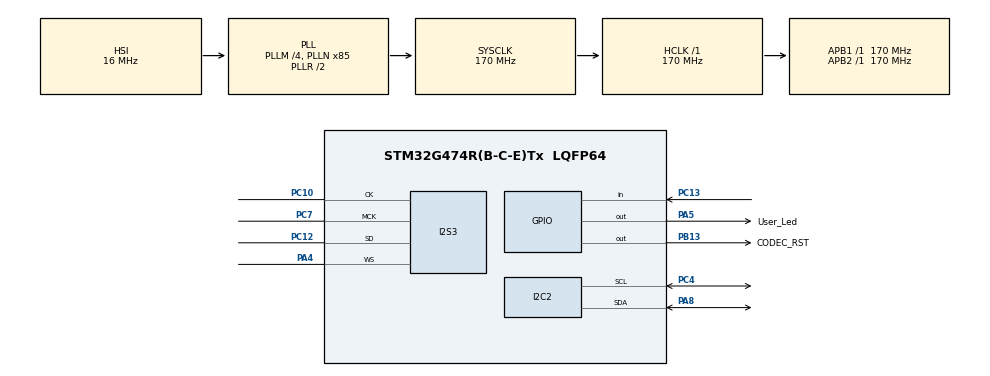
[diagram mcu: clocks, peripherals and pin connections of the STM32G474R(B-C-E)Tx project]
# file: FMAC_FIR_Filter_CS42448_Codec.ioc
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Dma.Request0=SPI3_RX
Dma.SPI3_RX.0.Direction=DMA_PERIPH_TO_MEMORY
Dma.SPI3_RX.0.EventEnable=DISABLE
Dma.SPI3_RX.0.Instance=DMA1_Channel1
Dma.SPI3_RX.0.MemDataAlignment=DMA_MDATAALIGN_HALFWORD
Dma.SPI3_RX.0.MemInc=DMA_MINC_ENABLE
Dma.SPI3_RX.0.Mode=DMA_NORMAL
Dma.SPI3_RX.0.PeriphDataAlignment=DMA_PDATAALIGN_HALFWORD
Dma.SPI3_RX.0.PeriphInc=DMA_PINC_DISABLE
Dma.SPI3_RX.0.Polarity=HAL_DMAMUX_REQ_GEN_RISING
Dma.SPI3_RX.0.Priority=DMA_PRIORITY_HIGH
Dma.SPI3_RX.0.RequestNumber=1
Dma.SPI3_RX.0.SignalID=NONE
Dma.SPI3_RX.0.SyncEnable=DISABLE
Dma.SPI3_RX.0.SyncPolarity=HAL_DMAMUX_SYNC_NO_EVENT
Dma.SPI3_RX.0.SyncRequestNumber=1
Dma.SPI3_RX.0.SyncSignalID=NONE
I2C2.Timing=0x30A0A7FB
I2S3.DataFormat=I2S_DATAFORMAT_16B_EXTENDED
I2S3.ErrorAudioFreq=0.0 %
I2S3.FullDuplexMode=I2S_FULLDUPLEXMODE_DISABLE
I2S3.Instance=SPI$Index
I2S3.Mode=I2S_MODE_MASTER_RX
I2S3.RealAudioFreq=8.0 KHz
I2S3.VirtualMode=I2S_MODE_MASTER
Mcu.Family=STM32G4
Mcu.Name=STM32G474R(B-C-E)Tx
Mcu.Package=LQFP64
NVIC.DMA1_Channel1_IRQn=true\:0\:0\:false\:false\:true\:false\:true\:true
NVIC.I2C2_ER_IRQn=true\:0\:0\:false\:false\:true\:true\:true\:true
NVIC.PriorityGroup=NVIC_PRIORITYGROUP_4
PA13.Mode=Serial_Wire
PA13.Signal=SYS_JTMS-SWDIO
PA14.Mode=Serial_Wire
PA14.Signal=SYS_JTCK-SWCLK
PA4.Mode=Half_Duplex_Master
PA4.Signal=I2S3_WS
PA5.GPIO_Label=User_Led
PA5.Signal=GPIO_Output
PA8.Mode=I2C
PA8.Signal=I2C2_SDA
PB13.GPIO_Label=CODEC_RST
PB13.Signal=GPIO_Output
PC10.Mode=Half_Duplex_Master
PC10.Signal=I2S3_CK
PC12.Mode=Half_Duplex_Master
PC12.Signal=I2S3_SD
PC13.Signal=GPIO_Input
PC4.Mode=I2C
PC4.Signal=I2C2_SCL
PC7.Mode=Master_Clock_Activated
PC7.Signal=I2S3_MCK
PF0-OSC_IN.Mode=HSE-External-Oscillator
PF0-OSC_IN.Signal=RCC_OSC_IN
PF1-OSC_OUT.Mode=HSE-External-Oscillator
PF1-OSC_OUT.Signal=RCC_OSC_OUT
ProjectManager.HeapSize=0x200
ProjectManager.StackSize=0x400
ProjectManager.TargetToolchain=STM32CubeIDE
RCC.ADC12Freq_Value=170000000
RCC.ADC345Freq_Value=170000000
RCC.AHBFreq_Value=170000000
RCC.APB1Freq_Value=170000000
RCC.APB1TimFreq_Value=170000000
RCC.APB2Freq_Value=170000000
RCC.APB2TimFreq_Value=170000000
RCC.CortexFreq_Value=170000000
RCC.EXTERNAL_CLOCK_VALUE=12288000
RCC.HCLKFreq_Value=170000000
RCC.HSE_VALUE=24000000
RCC.HSI48_VALUE=48000000
RCC.HSI_VALUE=16000000
RCC.LSE_VALUE=32768
RCC.PLLM=RCC_PLLM_DIV4
RCC.PLLN=85
RCC.RTCClockSelection=RCC_RTCCLKSOURCE_LSE
RCC.SYSCLKFreq_VALUE=170000000
RCC.SYSCLKSource=RCC_SYSCLKSOURCE_PLLCLK
RCC.USBFreq_Value=170000000
RCC.VCOOutputFreq_Value=340000000
STMicroelectronics.X-CUBE-ALGOBUILD.1.3.0.LibraryCcDSPOoLibraryJjDSPOoLibrary=true
VP_STMicroelectronics.X-CUBE-ALGOBUILD_VS_DSPOoLibraryJjLibrary_1.3.0_1.3.0.Mode=DSPOoLibraryJjLibrary
VP_SYS_VS_DBSignals.Mode=DisableDeadBatterySignals
board=NUCLEO-G474RE

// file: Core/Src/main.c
/* USER CODE BEGIN Header */
/**
  ******************************************************************************
  * @file           : main.c
  * @brief          : Main program body
  ******************************************************************************
  * @attention
  *
  * Copyright (c) 2024 STMicroelectronics.
  * All rights reserved.
  *
  * This software is licensed under terms that can be found in the LICENSE file
  * in the root directory of this software component.
  * If no LICENSE file comes with this software, it is provided AS-IS.
  *
  ******************************************************************************
  */
/* USER CODE END Header */
#include "main.h"

/* USER CODE BEGIN Includes */
#include "arm_math.h"
#include "CS42448.h"
/* USER CODE END Includes */

/* USER CODE BEGIN PTD */
Codec_Typedef cs42448;
/* USER CODE END PTD */

/* USER CODE BEGIN PD */
#define BUFFER_SIZE 1024
#define BLOCK_SIZE 32
#define NUM_TAPS 61
/* USER CODE END PD */

/* USER CODE BEGIN PM */
uint32_t block_size = BLOCK_SIZE;
uint32_t num_blocks = BUFFER_SIZE / BLOCK_SIZE;
arm_fir_instance_f32 hpf;

static volatile int16_t codec_raw_data[BUFFER_SIZE];
float32_t filter_in[BUFFER_SIZE];
float32_t filter_out[BUFFER_SIZE];
float32_t *filter_in_ptr = &filter_in[0];
float32_t *filter_out_ptr = &filter_out[0];
static float32_t fir_state[BLOCK_SIZE+NUM_TAPS-1];
const float32_t fir_coeffs[NUM_TAPS] = {
		0.03022662512841,0.00298125066145216,0.00288036344879971,0.00260522146083929,0.00213496571249289,0.00146370392240467,0.000588907304420464,-0.000500777052292414,-0.00180513057204926,-0.00331486840442641,-0.00502190870490101,-0.00691821507251869,-0.00898465907997099,-0.0112027580037421,-0.0135509232456635,-0.0160033748123723,-0.0185169234389414,-0.0210704168603848,-0.0236355750498254,-0.0261709240268061,-0.0286239812873267,-0.0310062091401962,-0.0332413913000725,-0.035267078502274,-0.0371393416280995,-0.0387649630517825,-0.0401386551185191,-0.0412136017595792,-0.0420015520194209,-0.0424661220495087,0.957372120679589,-0.0424661220495087,-0.0420015520194209,-0.0412136017595792,-0.0401386551185191,-0.0387649630517825,-0.0371393416280995,-0.035267078502274,-0.0332413913000725,-0.0310062091401962,-0.0286239812873267,-0.0261709240268061,-0.0236355750498254,-0.0210704168603848,-0.0185169234389414,-0.0160033748123723,-0.0135509232456635,-0.0112027580037421,-0.00898465907997099,-0.00691821507251869,-0.00502190870490101,-0.00331486840442641,-0.00180513057204926,-0.000500777052292414,0.000588907304420464,0.00146370392240467,0.00213496571249289,0.00260522146083929,0.00288036344879971,0.00298125066145216,0.03022662512841

};

/* USER CODE END PM */

I2C_HandleTypeDef hi2c2;

I2S_HandleTypeDef hi2s3;
DMA_HandleTypeDef hdma_spi3_rx;

void SystemClock_Config(void);
static void MX_GPIO_Init(void);
static void MX_DMA_Init(void);
static void MX_I2C2_Init(void);
static void MX_I2S3_Init(void);
/* USER CODE BEGIN PFP */
void MX_CODEC_Init(void){
	cs42448.CHIP_ADDRESS = 0x90;
	cs42448.i2c_port = hi2c2;
	cs42448.Timeout = 500;
	cs42448.Trials = 3;
	cs42448.Codec_Reset_Pin = CODEC_RST_Pin;
	cs42448.Codec_Reset_Pin_Port = CODEC_RST_GPIO_Port;

}
/* USER CODE END PFP */

int main(void)
{

  /* MCU Configuration--------------------------------------------------------*/

  /* Reset of all peripherals, Initializes the Flash interface and the Systick. */
  HAL_Init();

  /* Configure the system clock */
  SystemClock_Config();

  /* Initialize all configured peripherals */
  MX_GPIO_Init();
  MX_DMA_Init();
  MX_I2C2_Init();
  MX_I2S3_Init();
  /* USER CODE BEGIN 2 */
  MX_CODEC_Init();
  arm_fir_init_f32(&hpf, NUM_TAPS, (float32_t *)&fir_coeffs[0], &fir_state[0], block_size);

  PowerDownEnable(&cs42448);
  Codec_IsReady(&cs42448);
  SetI2SInterface(&cs42448);
  HandleRegisters(&cs42448,0x04);// Check I2S Interface
  SetADCMode(&cs42448);
  HandleRegisters(&cs42448,0x05);// Check ADC Mode
  PowerDownDisable(&cs42448);
  HAL_I2S_Receive_DMA(&hi2s3, (uint16_t *)codec_raw_data, BUFFER_SIZE);

  /* USER CODE END 2 */

  /* Infinite loop */
  while (1)
  {

  }
}

void SystemClock_Config(void)
{
  RCC_OscInitTypeDef RCC_OscInitStruct = {0};
  RCC_ClkInitTypeDef RCC_ClkInitStruct = {0};

  /** Configure the main internal regulator output voltage
  */
  HAL_PWREx_ControlVoltageScaling(PWR_REGULATOR_VOLTAGE_SCALE1_BOOST);

  /** Initializes the RCC Oscillators according to the specified parameters
  * in the RCC_OscInitTypeDef structure.
  */
  RCC_OscInitStruct.OscillatorType = RCC_OSCILLATORTYPE_HSI;
  RCC_OscInitStruct.HSIState = RCC_HSI_ON;
  RCC_OscInitStruct.HSICalibrationValue = RCC_HSICALIBRATION_DEFAULT;
  RCC_OscInitStruct.PLL.PLLState = RCC_PLL_ON;
  RCC_OscInitStruct.PLL.PLLSource = RCC_PLLSOURCE_HSI;
  RCC_OscInitStruct.PLL.PLLM = RCC_PLLM_DIV4;
  RCC_OscInitStruct.PLL.PLLN = 85;
  RCC_OscInitStruct.PLL.PLLP = RCC_PLLP_DIV2;
  RCC_OscInitStruct.PLL.PLLQ = RCC_PLLQ_DIV2;
  RCC_OscInitStruct.PLL.PLLR = RCC_PLLR_DIV2;
  if (HAL_RCC_OscConfig(&RCC_OscInitStruct) != HAL_OK)
  {
    Error_Handler();
  }

  /** Initializes the CPU, AHB and APB buses clocks
  */
  RCC_ClkInitStruct.ClockType = RCC_CLOCKTYPE_HCLK|RCC_CLOCKTYPE_SYSCLK
                              |RCC_CLOCKTYPE_PCLK1|RCC_CLOCKTYPE_PCLK2;
  RCC_ClkInitStruct.SYSCLKSource = RCC_SYSCLKSOURCE_PLLCLK;
  RCC_ClkInitStruct.AHBCLKDivider = RCC_SYSCLK_DIV1;
  RCC_ClkInitStruct.APB1CLKDivider = RCC_HCLK_DIV1;
  RCC_ClkInitStruct.APB2CLKDivider = RCC_HCLK_DIV1;

  if (HAL_RCC_ClockConfig(&RCC_ClkInitStruct, FLASH_LATENCY_4) != HAL_OK)
  {
    Error_Handler();
  }
}

static void MX_I2C2_Init(void)
{

  hi2c2.Instance = I2C2;
  hi2c2.Init.Timing = 0x30A0A7FB;
  hi2c2.Init.OwnAddress1 = 0;
  hi2c2.Init.AddressingMode = I2C_ADDRESSINGMODE_7BIT;
  hi2c2.Init.DualAddressMode = I2C_DUALADDRESS_DISABLE;
  hi2c2.Init.OwnAddress2 = 0;
  hi2c2.Init.OwnAddress2Masks = I2C_OA2_NOMASK;
  hi2c2.Init.GeneralCallMode = I2C_GENERALCALL_DISABLE;
  hi2c2.Init.NoStretchMode = I2C_NOSTRETCH_DISABLE;
  if (HAL_I2C_Init(&hi2c2) != HAL_OK)
  {
    Error_Handler();
  }

  /** Configure Analogue filter
  */
  if (HAL_I2CEx_ConfigAnalogFilter(&hi2c2, I2C_ANALOGFILTER_ENABLE) != HAL_OK)
  {
    Error_Handler();
  }

  /** Configure Digital filter
  */
  if (HAL_I2CEx_ConfigDigitalFilter(&hi2c2, 0) != HAL_OK)
  {
    Error_Handler();
  }

}

static void MX_I2S3_Init(void)
{

  hi2s3.Instance = SPI3;
  hi2s3.Init.Mode = I2S_MODE_MASTER_RX;
  hi2s3.Init.Standard = I2S_STANDARD_PHILIPS;
  hi2s3.Init.DataFormat = I2S_DATAFORMAT_16B_EXTENDED;
  hi2s3.Init.MCLKOutput = I2S_MCLKOUTPUT_ENABLE;
  hi2s3.Init.AudioFreq = I2S_AUDIOFREQ_8K;
  hi2s3.Init.CPOL = I2S_CPOL_LOW;
  if (HAL_I2S_Init(&hi2s3) != HAL_OK)
  {
    Error_Handler();
  }

}

static void MX_DMA_Init(void)
{

  /* DMA controller clock enable */
  __HAL_RCC_DMAMUX1_CLK_ENABLE();
  __HAL_RCC_DMA1_CLK_ENABLE();

  /* DMA interrupt init */
  /* DMA1_Channel1_IRQn interrupt configuration */
  HAL_NVIC_SetPriority(DMA1_Channel1_IRQn, 0, 0);
  HAL_NVIC_EnableIRQ(DMA1_Channel1_IRQn);

}

static void MX_GPIO_Init(void)
{
  GPIO_InitTypeDef GPIO_InitStruct = {0};

  /* GPIO Ports Clock Enable */
  __HAL_RCC_GPIOC_CLK_ENABLE();
  __HAL_RCC_GPIOF_CLK_ENABLE();
  __HAL_RCC_GPIOA_CLK_ENABLE();
  __HAL_RCC_GPIOB_CLK_ENABLE();

  /*Configure GPIO pin Output Level */
  HAL_GPIO_WritePin(User_Led_GPIO_Port, User_Led_Pin, GPIO_PIN_RESET);

  /*Configure GPIO pin Output Level */
  HAL_GPIO_WritePin(CODEC_RST_GPIO_Port, CODEC_RST_Pin, GPIO_PIN_RESET);

  /*Configure GPIO pin : PC13 */
  GPIO_InitStruct.Pin = GPIO_PIN_13;
  GPIO_InitStruct.Mode = GPIO_MODE_INPUT;
  GPIO_InitStruct.Pull = GPIO_NOPULL;
  HAL_GPIO_Init(GPIOC, &GPIO_InitStruct);

  /*Configure GPIO pin : User_Led_Pin */
  GPIO_InitStruct.Pin = User_Led_Pin;
  GPIO_InitStruct.Mode = GPIO_MODE_OUTPUT_PP;
  GPIO_InitStruct.Pull = GPIO_NOPULL;
  GPIO_InitStruct.Speed = GPIO_SPEED_FREQ_LOW;
  HAL_GPIO_Init(User_Led_GPIO_Port, &GPIO_InitStruct);

  /*Configure GPIO pin : CODEC_RST_Pin */
  GPIO_InitStruct.Pin = CODEC_RST_Pin;
  GPIO_InitStruct.Mode = GPIO_MODE_OUTPUT_PP;
  GPIO_InitStruct.Pull = GPIO_NOPULL;
  GPIO_InitStruct.Speed = GPIO_SPEED_FREQ_LOW;
  HAL_GPIO_Init(CODEC_RST_GPIO_Port, &GPIO_InitStruct);

}

/* USER CODE BEGIN 4 */

void HAL_I2S_RxCpltCallback(I2S_HandleTypeDef *hi2s){
	for(int i=0;i<BUFFER_SIZE;i++){
		filter_in[i] = codec_raw_data[i];
	}
	for(int i =0;i<num_blocks;i++){
		arm_fir_f32(&hpf,filter_in_ptr+(i*block_size), filter_out_ptr+(i*block_size),block_size);
	}
	HAL_I2S_Receive_DMA(&hi2s3, (uint16_t *)codec_raw_data, BUFFER_SIZE);

}
/* USER CODE END 4 */

void Error_Handler(void)
{
  __disable_irq();
  while (1)
  {
  }
}
